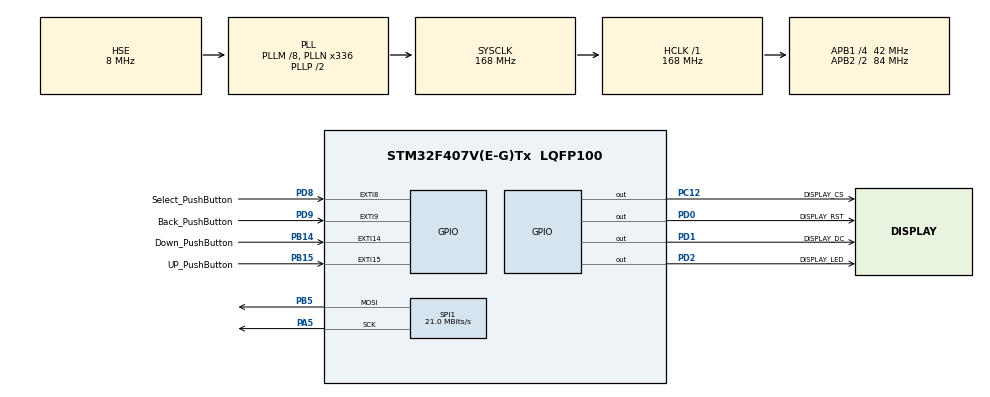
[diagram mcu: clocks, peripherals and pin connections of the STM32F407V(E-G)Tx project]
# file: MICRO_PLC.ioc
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Dma.Request0=SPI1_TX
Dma.SPI1_TX.0.Direction=DMA_MEMORY_TO_PERIPH
Dma.SPI1_TX.0.FIFOMode=DMA_FIFOMODE_DISABLE
Dma.SPI1_TX.0.Instance=DMA2_Stream3
Dma.SPI1_TX.0.MemDataAlignment=DMA_MDATAALIGN_BYTE
Dma.SPI1_TX.0.MemInc=DMA_MINC_ENABLE
Dma.SPI1_TX.0.Mode=DMA_NORMAL
Dma.SPI1_TX.0.PeriphDataAlignment=DMA_PDATAALIGN_BYTE
Dma.SPI1_TX.0.PeriphInc=DMA_PINC_DISABLE
Dma.SPI1_TX.0.Priority=DMA_PRIORITY_LOW
FREERTOS.Mutexes01=PLC_IO_Database,Dynamic,NULL,Available
FREERTOS.Queues01=ButtonQueue,16,uint16_t,0,Dynamic,NULL,NULL
FREERTOS.Tasks01=defaultTask,24,128,StartDefaultTask,As weak,NULL,Dynamic,NULL,NULL;PLC_LOGIC,40,768,StartPLC_LOGIC,As weak,NULL,Dynamic,NULL,NULL;DISPLAY_Task,24,768,StartDISPLAY_Task,As weak,NULL,Dynamic,NULL,NULL
FREERTOS.configUSE_NEWLIB_REENTRANT=0
Mcu.Family=STM32F4
Mcu.Name=STM32F407V(E-G)Tx
Mcu.Package=LQFP100
NVIC.DMA2_Stream3_IRQn=true\:5\:0\:false\:false\:true\:true\:false\:true\:true
NVIC.EXTI15_10_IRQn=true\:5\:0\:false\:false\:true\:true\:true\:true\:true
NVIC.EXTI9_5_IRQn=true\:5\:0\:false\:false\:true\:true\:true\:true\:true
NVIC.PriorityGroup=NVIC_PRIORITYGROUP_4
NVIC.TIM1_UP_TIM10_IRQn=true\:5\:0\:false\:false\:true\:true\:true\:true\:true
NVIC.TIM6_DAC_IRQn=true\:15\:0\:false\:false\:true\:false\:false\:true\:true
NVIC.TimeBase=TIM6_DAC_IRQn
NVIC.TimeBaseIP=TIM6
PA13.GPIO_Label=SWDIO
PA13.Mode=Serial_Wire
PA13.Signal=SYS_JTMS-SWDIO
PA14.GPIO_Label=SWCLK
PA14.Mode=Serial_Wire
PA14.Signal=SYS_JTCK-SWCLK
PA5.Mode=TX_Only_Simplex_Unidirect_Master
PA5.Signal=SPI1_SCK
PB14.GPIO_Label=Down_PushButton
PB14.GPIO_ModeDefaultEXTI=GPIO_MODE_IT_FALLING
PB14.GPIO_PuPd=GPIO_PULLUP
PB14.Signal=GPXTI14
PB15.GPIO_Label=UP_PushButton
PB15.GPIO_ModeDefaultEXTI=GPIO_MODE_IT_FALLING
PB15.GPIO_PuPd=GPIO_PULLUP
PB15.Signal=GPXTI15
PB3.GPIO_Label=SWO
PB3.Signal=SYS_JTDO-SWO
PB5.Mode=TX_Only_Simplex_Unidirect_Master
PB5.Signal=SPI1_MOSI
PC12.GPIO_Label=DISPLAY_CS
PC12.Signal=GPIO_Output
PD0.GPIO_Label=DISPLAY_RST
PD0.Signal=GPIO_Output
PD1.GPIO_Label=DISPLAY_DC
PD1.Signal=GPIO_Output
PD2.GPIO_Label=DISPLAY_LED
PD2.Signal=GPIO_Output
PD8.GPIO_Label=Select_PushButton
PD8.GPIO_ModeDefaultEXTI=GPIO_MODE_IT_FALLING
PD8.GPIO_PuPd=GPIO_PULLUP
PD8.Signal=GPXTI8
PD9.GPIO_Label=Back_PushButton
PD9.GPIO_ModeDefaultEXTI=GPIO_MODE_IT_FALLING
PD9.GPIO_PuPd=GPIO_PULLUP
PD9.Signal=GPXTI9
PH0-OSC_IN.Mode=HSE-External-Oscillator
PH0-OSC_IN.Signal=RCC_OSC_IN
PH1-OSC_OUT.GPIO_Label=PH1-OSC_OUT
PH1-OSC_OUT.Mode=HSE-External-Oscillator
PH1-OSC_OUT.Signal=RCC_OSC_OUT
ProjectManager.HeapSize=0x200
ProjectManager.StackSize=0x400
ProjectManager.TargetToolchain=STM32CubeIDE
RCC.48MHZClocksFreq_Value=48000000
RCC.AHBFreq_Value=168000000
RCC.APB1CLKDivider=RCC_HCLK_DIV4
RCC.APB1Freq_Value=42000000
RCC.APB1TimFreq_Value=84000000
RCC.APB2CLKDivider=RCC_HCLK_DIV2
RCC.APB2Freq_Value=84000000
RCC.APB2TimFreq_Value=168000000
RCC.CortexFreq_Value=168000000
RCC.HCLKFreq_Value=168000000
RCC.HSE_VALUE=8000000
RCC.HSI_VALUE=16000000
RCC.LSE_VALUE=32768
RCC.PLLM=8
RCC.PLLN=336
RCC.PLLQ=7
RCC.PLLSourceVirtual=RCC_PLLSOURCE_HSE
RCC.SYSCLKFreq_VALUE=168000000
RCC.SYSCLKSource=RCC_SYSCLKSOURCE_PLLCLK
RCC.VCOOutputFreq_Value=336000000
SPI1.BaudRatePrescaler=SPI_BAUDRATEPRESCALER_4
SPI1.CalculateBaudRate=21.0 MBits/s
SPI1.Direction=SPI_DIRECTION_2LINES
SPI1.Mode=SPI_MODE_MASTER
SPI1.VirtualType=VM_MASTER
TIM10.Period=1000-1
TIM10.Prescaler=168-1
VP_FREERTOS_VS_CMSIS_V2.Mode=CMSIS_V2
VP_SYS_VS_tim6.Mode=TIM6
VP_TIM10_VS_ClockSourceINT.Mode=Enable_Timer
board=STM32F407G-DISC1

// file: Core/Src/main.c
/* USER CODE BEGIN Header */
/**
  ******************************************************************************
  * @file           : main.c
  * @brief          : Main program body
  ******************************************************************************
  * @attention
  *
  * Copyright (c) 2025 STMicroelectronics.
  * All rights reserved.
  *
  * This software is licensed under terms that can be found in the LICENSE file
  * in the root directory of this software component.
  * If no LICENSE file comes with this software, it is provided AS-IS.
  *
  ******************************************************************************
  */
/* USER CODE END Header */
#include "main.h"
#include "cmsis_os.h"

/* USER CODE BEGIN Includes */
#include "PLClogic.h"
#include "Display.h"
/* USER CODE END Includes */

/* USER CODE BEGIN PD */
#define DEBOUNCE_TIME_MS 200

/* USER CODE END PD */

SPI_HandleTypeDef hspi1;
DMA_HandleTypeDef hdma_spi1_tx;

TIM_HandleTypeDef htim10;

/* Definitions for defaultTask */
osThreadId_t defaultTaskHandle;
const osThreadAttr_t defaultTask_attributes = {
  .name = "defaultTask",
  .stack_size = 128 * 4,
  .priority = (osPriority_t) osPriorityNormal,
};
/* Definitions for PLC_LOGIC */
osThreadId_t PLC_LOGICHandle;
const osThreadAttr_t PLC_LOGIC_attributes = {
  .name = "PLC_LOGIC",
  .stack_size = 768 * 4,
  .priority = (osPriority_t) osPriorityHigh,
};
/* Definitions for DISPLAY_Task */
osThreadId_t DISPLAY_TaskHandle;
const osThreadAttr_t DISPLAY_Task_attributes = {
  .name = "DISPLAY_Task",
  .stack_size = 768 * 4,
  .priority = (osPriority_t) osPriorityNormal,
};
/* Definitions for ButtonQueue */
osMessageQueueId_t ButtonQueueHandle;
const osMessageQueueAttr_t ButtonQueue_attributes = {
  .name = "ButtonQueue"
};
/* Definitions for PLC_IO_Database */
osMutexId_t PLC_IO_DatabaseHandle;
const osMutexAttr_t PLC_IO_Database_attributes = {
  .name = "PLC_IO_Database"
};
/* USER CODE BEGIN PV */
uint32_t lastPressTick[4]={0};
/* USER CODE END PV */

void SystemClock_Config(void);
static void MX_GPIO_Init(void);
static void MX_DMA_Init(void);
static void MX_TIM10_Init(void);
static void MX_SPI1_Init(void);
void StartDefaultTask(void *argument);
void StartPLC_LOGIC(void *argument);
void StartDISPLAY_Task(void *argument);

int main(void)
{

  /* MCU Configuration--------------------------------------------------------*/

  /* Reset of all peripherals, Initializes the Flash interface and the Systick. */
  HAL_Init();

  /* Configure the system clock */
  SystemClock_Config();

  /* Initialize all configured peripherals */
  MX_GPIO_Init();
  MX_DMA_Init();
  MX_TIM10_Init();
  MX_SPI1_Init();
  /* USER CODE BEGIN 2 */
  setup();
  if (TIMERS_USED) {
	  HAL_TIM_Base_Start_IT(&htim10);

  }
  /* USER CODE END 2 */

  /* Init scheduler */
  osKernelInitialize();
  /* Create the mutex(es) */
  /* creation of PLC_IO_Database */
  PLC_IO_DatabaseHandle = osMutexNew(&PLC_IO_Database_attributes);

  /* Create the queue(s) */
  /* creation of ButtonQueue */
  ButtonQueueHandle = osMessageQueueNew (16, sizeof(BUTTON_INPUT), &ButtonQueue_attributes);

  /* Create the thread(s) */
  /* creation of defaultTask */
  defaultTaskHandle = osThreadNew(StartDefaultTask, NULL, &defaultTask_attributes);

  /* creation of PLC_LOGIC */
  PLC_LOGICHandle = osThreadNew(StartPLC_LOGIC, NULL, &PLC_LOGIC_attributes);

  /* creation of DISPLAY_Task */
  DISPLAY_TaskHandle = osThreadNew(StartDISPLAY_Task, NULL, &DISPLAY_Task_attributes);

  /* Start scheduler */
  osKernelStart();

  /* We should never get here as control is now taken by the scheduler */

  /* Infinite loop */
  while (1)
  {

  }
}

void SystemClock_Config(void)
{
  RCC_OscInitTypeDef RCC_OscInitStruct = {0};
  RCC_ClkInitTypeDef RCC_ClkInitStruct = {0};

  /** Configure the main internal regulator output voltage
  */
  __HAL_RCC_PWR_CLK_ENABLE();
  __HAL_PWR_VOLTAGESCALING_CONFIG(PWR_REGULATOR_VOLTAGE_SCALE1);

  /** Initializes the RCC Oscillators according to the specified parameters
  * in the RCC_OscInitTypeDef structure.
  */
  RCC_OscInitStruct.OscillatorType = RCC_OSCILLATORTYPE_HSE;
  RCC_OscInitStruct.HSEState = RCC_HSE_ON;
  RCC_OscInitStruct.PLL.PLLState = RCC_PLL_ON;
  RCC_OscInitStruct.PLL.PLLSource = RCC_PLLSOURCE_HSE;
  RCC_OscInitStruct.PLL.PLLM = 8;
  RCC_OscInitStruct.PLL.PLLN = 336;
  RCC_OscInitStruct.PLL.PLLP = RCC_PLLP_DIV2;
  RCC_OscInitStruct.PLL.PLLQ = 7;
  if (HAL_RCC_OscConfig(&RCC_OscInitStruct) != HAL_OK)
  {
    Error_Handler();
  }

  /** Initializes the CPU, AHB and APB buses clocks
  */
  RCC_ClkInitStruct.ClockType = RCC_CLOCKTYPE_HCLK|RCC_CLOCKTYPE_SYSCLK
                              |RCC_CLOCKTYPE_PCLK1|RCC_CLOCKTYPE_PCLK2;
  RCC_ClkInitStruct.SYSCLKSource = RCC_SYSCLKSOURCE_PLLCLK;
  RCC_ClkInitStruct.AHBCLKDivider = RCC_SYSCLK_DIV1;
  RCC_ClkInitStruct.APB1CLKDivider = RCC_HCLK_DIV4;
  RCC_ClkInitStruct.APB2CLKDivider = RCC_HCLK_DIV2;

  if (HAL_RCC_ClockConfig(&RCC_ClkInitStruct, FLASH_LATENCY_5) != HAL_OK)
  {
    Error_Handler();
  }
}

static void MX_SPI1_Init(void)
{

  /* SPI1 parameter configuration*/
  hspi1.Instance = SPI1;
  hspi1.Init.Mode = SPI_MODE_MASTER;
  hspi1.Init.Direction = SPI_DIRECTION_2LINES;
  hspi1.Init.DataSize = SPI_DATASIZE_8BIT;
  hspi1.Init.CLKPolarity = SPI_POLARITY_LOW;
  hspi1.Init.CLKPhase = SPI_PHASE_1EDGE;
  hspi1.Init.NSS = SPI_NSS_SOFT;
  hspi1.Init.BaudRatePrescaler = SPI_BAUDRATEPRESCALER_4;
  hspi1.Init.FirstBit = SPI_FIRSTBIT_MSB;
  hspi1.Init.TIMode = SPI_TIMODE_DISABLE;
  hspi1.Init.CRCCalculation = SPI_CRCCALCULATION_DISABLE;
  hspi1.Init.CRCPolynomial = 10;
  if (HAL_SPI_Init(&hspi1) != HAL_OK)
  {
    Error_Handler();
  }

}

static void MX_TIM10_Init(void)
{

  htim10.Instance = TIM10;
  htim10.Init.Prescaler = 168-1;
  htim10.Init.CounterMode = TIM_COUNTERMODE_UP;
  htim10.Init.Period = 1000-1;
  htim10.Init.ClockDivision = TIM_CLOCKDIVISION_DIV1;
  htim10.Init.AutoReloadPreload = TIM_AUTORELOAD_PRELOAD_DISABLE;
  if (HAL_TIM_Base_Init(&htim10) != HAL_OK)
  {
    Error_Handler();
  }

}

static void MX_DMA_Init(void)
{

  /* DMA controller clock enable */
  __HAL_RCC_DMA2_CLK_ENABLE();

  /* DMA interrupt init */
  /* DMA2_Stream3_IRQn interrupt configuration */
  HAL_NVIC_SetPriority(DMA2_Stream3_IRQn, 5, 0);
  HAL_NVIC_EnableIRQ(DMA2_Stream3_IRQn);

}

static void MX_GPIO_Init(void)
{
  GPIO_InitTypeDef GPIO_InitStruct = {0};

  /* GPIO Ports Clock Enable */
  __HAL_RCC_GPIOH_CLK_ENABLE();
  __HAL_RCC_GPIOA_CLK_ENABLE();
  __HAL_RCC_GPIOB_CLK_ENABLE();
  __HAL_RCC_GPIOD_CLK_ENABLE();
  __HAL_RCC_GPIOC_CLK_ENABLE();

  /*Configure GPIO pin Output Level */
  HAL_GPIO_WritePin(DISPLAY_CS_GPIO_Port, DISPLAY_CS_Pin, GPIO_PIN_RESET);

  /*Configure GPIO pin Output Level */
  HAL_GPIO_WritePin(GPIOD, DISPLAY_RST_Pin|DISPLAY_DC_Pin|DISPLAY_LED_Pin, GPIO_PIN_RESET);

  /*Configure GPIO pins : Down_PushButton_Pin UP_PushButton_Pin */
  GPIO_InitStruct.Pin = Down_PushButton_Pin|UP_PushButton_Pin;
  GPIO_InitStruct.Mode = GPIO_MODE_IT_FALLING;
  GPIO_InitStruct.Pull = GPIO_PULLUP;
  HAL_GPIO_Init(GPIOB, &GPIO_InitStruct);

  /*Configure GPIO pins : Select_PushButton_Pin Back_PushButton_Pin */
  GPIO_InitStruct.Pin = Select_PushButton_Pin|Back_PushButton_Pin;
  GPIO_InitStruct.Mode = GPIO_MODE_IT_FALLING;
  GPIO_InitStruct.Pull = GPIO_PULLUP;
  HAL_GPIO_Init(GPIOD, &GPIO_InitStruct);

  /*Configure GPIO pin : DISPLAY_CS_Pin */
  GPIO_InitStruct.Pin = DISPLAY_CS_Pin;
  GPIO_InitStruct.Mode = GPIO_MODE_OUTPUT_PP;
  GPIO_InitStruct.Pull = GPIO_NOPULL;
  GPIO_InitStruct.Speed = GPIO_SPEED_FREQ_LOW;
  HAL_GPIO_Init(DISPLAY_CS_GPIO_Port, &GPIO_InitStruct);

  /*Configure GPIO pins : DISPLAY_RST_Pin DISPLAY_DC_Pin DISPLAY_LED_Pin */
  GPIO_InitStruct.Pin = DISPLAY_RST_Pin|DISPLAY_DC_Pin|DISPLAY_LED_Pin;
  GPIO_InitStruct.Mode = GPIO_MODE_OUTPUT_PP;
  GPIO_InitStruct.Pull = GPIO_NOPULL;
  GPIO_InitStruct.Speed = GPIO_SPEED_FREQ_LOW;
  HAL_GPIO_Init(GPIOD, &GPIO_InitStruct);

  /* EXTI interrupt init*/
  HAL_NVIC_SetPriority(EXTI9_5_IRQn, 5, 0);
  HAL_NVIC_EnableIRQ(EXTI9_5_IRQn);

  HAL_NVIC_SetPriority(EXTI15_10_IRQn, 5, 0);
  HAL_NVIC_EnableIRQ(EXTI15_10_IRQn);

}

__weak void StartDefaultTask(void *argument)
{
  for(;;)
  {
    osDelay(1);
  }
}

__weak void StartPLC_LOGIC(void *argument)
{
  for(;;)
  {
    osDelay(1);
  }
}

__weak void StartDISPLAY_Task(void *argument)
{
  for(;;)
  {
    osDelay(1);
  }
}

void HAL_TIM_PeriodElapsedCallback(TIM_HandleTypeDef *htim)
{
  if (htim->Instance == TIM6)
  {
    HAL_IncTick();
  }
  /* USER CODE BEGIN Callback 1 */
  if (htim->Instance== TIM10)
  {
	  PLC_Timer_Update();
  }
}
void HAL_GPIO_EXTI_Callback(uint16_t GPIO_Pin) {
    BUTTON_INPUT b;
    uint8_t index;

    switch (GPIO_Pin) {
        case UP_PushButton_Pin:
            b = UP_BUTTON; index = 0;
            break;
        case Down_PushButton_Pin:
            b = DOWN_BUTTON; index = 1;
            break;
        case Select_PushButton_Pin:
            b = SELECT_BUTTON; index = 2;
            break;
        case Back_PushButton_Pin:
            b = BACK_BUTTON; index = 3;
            break;
        default:
            return;
    }

    uint32_t now = HAL_GetTick();
    if ((now - lastPressTick[index]) < DEBOUNCE_TIME_MS) return;  // debounce!
    lastPressTick[index] = now;

    osMessageQueuePut(ButtonQueueHandle, &b, 0, 0);

  /* USER CODE END Callback 1 */
}

void Error_Handler(void)
{
  __disable_irq();
  while (1)
  {
  }
}
